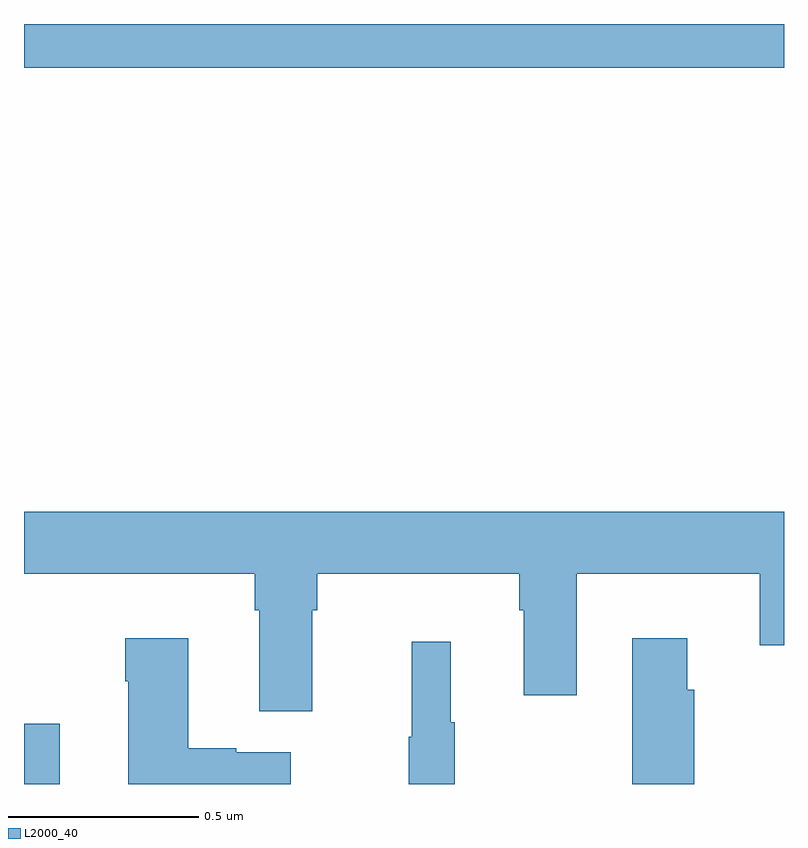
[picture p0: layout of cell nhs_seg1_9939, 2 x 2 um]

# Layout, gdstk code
import gdstk
lib = gdstk.Library(unit=1e-6, precision=1e-09)
def R(c, l, rs):  # rectangles x0, y0, x1, y1
    for r in rs: c.add(gdstk.rectangle(r[:2], r[2:], *l))
def P(c, l, *ps):  # polygons
    for p in ps: c.add(gdstk.Polygon(p, *l))
L2000_40 = (2000, 40)

nhs_seg1_9939 = lib.new_cell('nhs_seg1_9939')
R(nhs_seg1_9939, L2000_40, [(235,531.199,235.094,531.358), (235,533.084,237,533.199)])
P(nhs_seg1_9939, L2000_40, [(235.759,531.656),(235.772,531.656),(235.772,531.752),(236.303,531.752),(236.303,531.656),(236.315,531.656),(236.315,531.432),(236.455,531.432),(236.455,531.752),(236.936,531.752),(236.936,531.564),(237,531.564),(237,531.916),(235,531.916),(235,531.752),(235.607,531.752),(235.607,531.656),(235.619,531.656),(235.619,531.39),(235.759,531.39)],
  [(236.764,531.447),(236.746,531.447),(236.746,531.583),(236.6,531.583),(236.6,531.199),(236.764,531.199)],
  [(235.702,531.283),(235.559,531.283),(235.559,531.293),(235.432,531.293),(235.432,531.583),(235.267,531.583),(235.267,531.47),(235.274,531.47),(235.274,531.199),(235.702,531.199)],
  [(236.134,531.361),(236.123,531.361),(236.123,531.574),(236.02,531.574),(236.02,531.324),(236.013,531.324),(236.013,531.199),(236.134,531.199)])

lib.write_gds('nhs_seg1_9939.gds')
